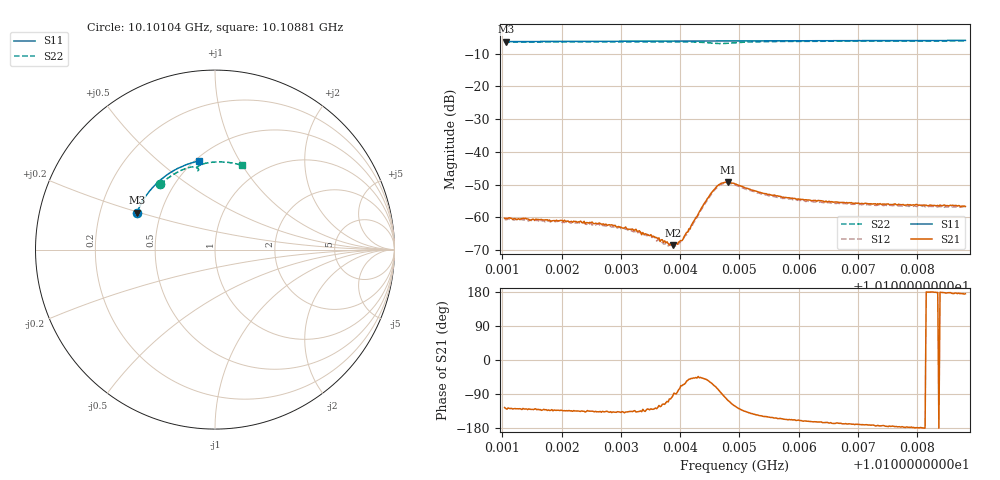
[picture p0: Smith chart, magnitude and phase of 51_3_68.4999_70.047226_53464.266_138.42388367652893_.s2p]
#  HZ  S  RI  R  50.00
! Rohde & Schwarz Vector Network Analyzer
! Rohde-Schwarz,ZNB20-2Port,1311601062101988,3.16
! Created: UTC 3/20/2024, 5:06:00 PM
! freq[Hz]  re:S11  im:S11  re:S21  im:S21  re:S12  im:S12  re:S22  im:S22
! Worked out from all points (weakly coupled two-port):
!   401 points, 10.10104 GHz to 10.10881 GHz, reference 50 ohm
!   highest |S21| = -49.18 dB at 10.10481 GHz (marker M1); lowest = -68.5 dB at 10.10388 GHz (marker M2)
!   lowest |S11| = -6.3 dB at 10.10106 GHz (marker M3), VSWR 2.86, Z = 18.3 + j9.82 ohm
!   |S11| at or under -10 dB: nowhere
!   |S22| runs from -6.9 to -6.1 dB; largest |S21 - S12| = 0.00036
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1.0101039e10  -0.4359 0.2055  -0.000567 -0.000793  -0.000514 -0.000786  -0.3041 0.3639
1.0101059e10  -0.4353 0.2065  -0.000596 -0.000764  -0.000486 -0.000784  -0.3033 0.3647
1.0102341e10  -0.3999 0.276  -0.000584 -0.000599  -0.000524 -0.000626  -0.2371 0.4152
1.0102866e10  -0.3823 0.3027  -0.000555 -0.000518  -0.000508 -0.000515  -0.207 0.4325
1.0103002e10  -0.3774 0.3093  -0.000532 -0.000471  -0.000446 -0.000505  -0.1989 0.4366
1.0103274e10  -0.3675 0.3224  -0.000445 -0.000418  -0.000378 -0.000428  -0.1822 0.4443
1.0103546e10  -0.3569 0.3351  -0.000335 -0.000398  -0.000273 -0.000425  -0.1648 0.4512
1.0103643e10  -0.353 0.3396  -0.000244 -0.000424  -0.000226 -0.000403  -0.1582 0.4536
1.0103837e10  -0.3452 0.3484  -8.62e-05 -0.000381  -3.27e-05 -0.000364  -0.1447 0.4576
1.0103876e10  -0.3437 0.35  -2.99e-05 -0.000375  -5.24e-06 -0.000394  -0.142 0.4583
1.0103954e10  -0.3403 0.3535  3.68e-05 -0.000388  9.2e-05 -0.000384  -0.1363 0.4594
1.0103992e10  -0.3388 0.3552  0.000106 -0.000412  0.00015 -0.000382  -0.1332 0.46
1.010407e10  -0.3354 0.3586  0.000227 -0.000466  0.000255 -0.00044  -0.1272 0.4608
1.010442e10  -0.3202 0.3733  0.00109 -0.0013  0.00115 -0.00118  -0.0981 0.4559
1.0104575e10  -0.3132 0.3796  0.00101 -0.00248  0.00122 -0.0023  -0.0916 0.4451
1.0104692e10  -0.308 0.3843  0.000164 -0.00332  0.000455 -0.00311  -0.0959 0.4394
1.0104808e10  -0.3028 0.3888  -0.00102 -0.00332  -0.000687 -0.00326  -0.1018 0.4433
1.0104925e10  -0.2974 0.3934  -0.0017 -0.00277  -0.00138 -0.00278  -0.1016 0.4527
1.0105508e10  -0.2694 0.415  -0.00196 -0.00109  -0.00178 -0.00118  -0.0639 0.4781
1.0106227e10  -0.2329 0.4385  -0.00173 -0.000531  -0.0016 -0.000701  -0.0148 0.4869
1.0107528e10  -0.162 0.4723  -0.00156 -0.000158  -0.0015 -0.000283  0.0702 0.4859
1.010881e10  -0.0875 0.4939  -0.00147 0.000133  -0.00145 -3.33e-05  0.1507 0.4702
